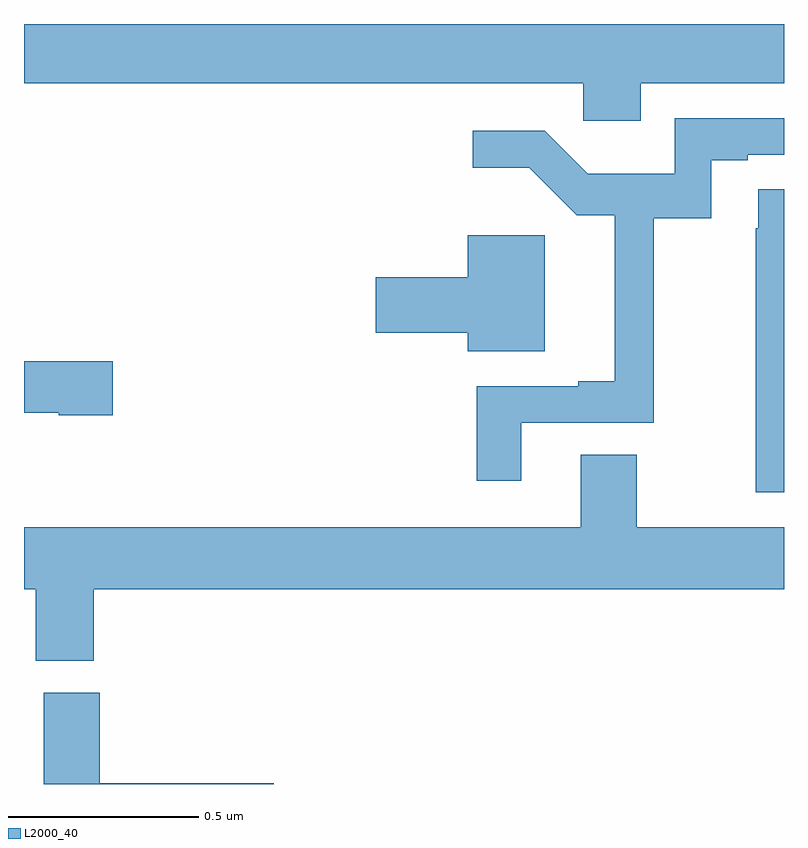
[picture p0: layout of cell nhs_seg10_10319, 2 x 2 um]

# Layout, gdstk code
import gdstk
lib = gdstk.Library(unit=1e-6, precision=1e-09)
def P(c, l, *ps):  # polygons
    for p in ps: c.add(gdstk.Polygon(p, *l))
L2000_40 = (2000, 40)

nhs_seg10_10319 = lib.new_cell('nhs_seg10_10319')
P(nhs_seg10_10319, L2000_40, [(242.623,1272.344),(243,1272.344),(243,1272.5),(241,1272.5),(241,1272.344),(242.472,1272.344),(242.472,1272.246),(242.623,1272.246)],
  [(242.308,1271.451),(242.657,1271.451),(242.657,1271.989),(242.808,1271.989),(242.808,1272.142),(242.905,1272.142),(242.905,1272.156),(243,1272.156),(243,1272.252),(242.712,1272.252),(242.712,1272.106),(242.483,1272.106),(242.37,1272.219),(242.181,1272.219),(242.181,1272.122),(242.329,1272.122),(242.455,1271.997),(242.555,1271.997),(242.555,1271.56),(242.459,1271.56),(242.459,1271.547),(242.191,1271.547),(242.191,1271.298),(242.308,1271.298)],
  [(243,1272.065),(242.932,1272.065),(242.932,1271.963),(242.926,1271.963),(242.926,1271.268),(243,1271.268)],
  [(242.371,1271.944),(242.168,1271.944),(242.168,1271.834),(241.926,1271.834),(241.926,1271.687),(242.168,1271.687),(242.168,1271.639),(242.371,1271.639)],
  [(241.234,1271.612),(241,1271.612),(241,1271.477),(241.091,1271.477),(241.091,1271.47),(241.234,1271.47)],
  [(241.184,1271.012),(243,1271.012),(243,1271.176),(242.613,1271.176),(242.613,1271.366),(242.465,1271.366),(242.465,1271.176),(241,1271.176),(241,1271.012),(241.031,1271.012),(241.031,1270.825),(241.184,1270.825)],
  [(241.657,1270.502),(241.199,1270.502),(241.199,1270.74),(241.052,1270.74),(241.052,1270.5),(241.657,1270.5)])

lib.write_gds('nhs_seg10_10319.gds')
